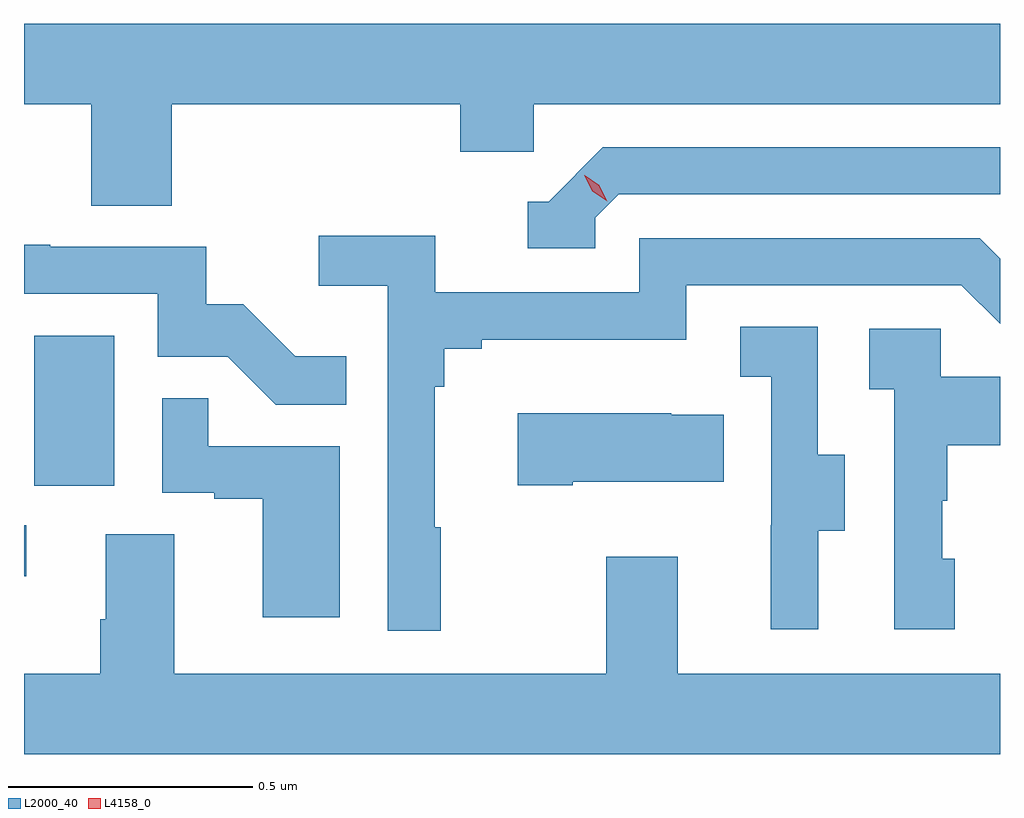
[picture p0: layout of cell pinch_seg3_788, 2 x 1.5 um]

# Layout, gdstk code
import gdstk
lib = gdstk.Library(unit=1e-6, precision=1e-09)
def R(c, l, rs):  # rectangles x0, y0, x1, y1
    for r in rs: c.add(gdstk.rectangle(r[:2], r[2:], *l))
def P(c, l, *ps):  # polygons
    for p in ps: c.add(gdstk.Polygon(p, *l))
L2000_40 = (2000, 40)
L4158_0 = (4158, 0)

pinch_seg3_788 = lib.new_cell('pinch_seg3_788')
R(pinch_seg3_788, L2000_40, [(812.873,739.908,812.878,740.013), (812.894,740.094,813.058,740.401)])
P(pinch_seg3_788, L2000_40, [(813.176,740.876),(813.767,740.876),(813.767,740.778),(813.918,740.778),(813.918,740.876),(814.873,740.876),(814.873,741.04),(812.873,741.04),(812.873,740.876),(813.011,740.876),(813.011,740.668),(813.176,740.668)],
  [(814.044,740.643),(814.092,740.691),(814.873,740.691),(814.873,740.787),(814.059,740.787),(813.948,740.676),(813.905,740.676),(813.905,740.58),(814.044,740.58)],
  [(813.727,740.009),(813.715,740.009),(813.715,740.297),(813.734,740.297),(813.734,740.374),(813.811,740.374),(813.811,740.393),(814.23,740.393),(814.23,740.505),(814.794,740.505),(814.873,740.426),(814.873,740.559),(814.831,740.601),(814.134,740.601),(814.134,740.49),(813.716,740.49),(813.716,740.606),(813.477,740.606),(813.477,740.504),(813.618,740.504),(813.618,739.797),(813.727,739.797)],
  [(813.533,740.359),(813.429,740.359),(813.322,740.466),(813.246,740.466),(813.246,740.583),(812.927,740.583),(812.927,740.588),(812.873,740.588),(812.873,740.487),(813.147,740.487),(813.147,740.358),(813.291,740.358),(813.389,740.26),(813.533,740.26)],
  [(814.501,740.002),(814.555,740.002),(814.555,740.157),(814.5,740.157),(814.5,740.42),(814.341,740.42),(814.341,740.317),(814.404,740.317),(814.404,740.013),(814.403,740.013),(814.403,739.8),(814.501,739.8)],
  [(814.78,739.944),(814.755,739.944),(814.755,740.063),(814.765,740.063),(814.765,740.177),(814.873,740.177),(814.873,740.317),(814.752,740.317),(814.752,740.415),(814.605,740.415),(814.605,740.291),(814.656,740.291),(814.656,739.8),(814.78,739.8)],
  [(813.52,740.175),(813.251,740.175),(813.251,740.273),(813.156,740.273),(813.156,740.079),(813.263,740.079),(813.263,740.067),(813.362,740.067),(813.362,739.824),(813.52,739.824)],
  [(813.997,740.102),(814.307,740.102),(814.307,740.239),(814.199,740.239),(814.199,740.242),(813.885,740.242),(813.885,740.095),(813.997,740.095)],
  [(814.066,739.948),(814.066,739.708),(813.181,739.708),(813.181,739.994),(813.041,739.994),(813.041,739.82),(813.029,739.82),(813.029,739.708),(812.873,739.708),(812.873,739.544),(814.873,739.544),(814.873,739.708),(814.213,739.708),(814.213,739.948)])
P(pinch_seg3_788, L4158_0, [(814.068,740.677),(814.037,740.697),(814.021,740.73),(814.021,740.73),(814.022,740.73),(814.052,740.71),(814.068,740.677),(814.068,740.677)])

lib.write_gds('pinch_seg3_788.gds')
